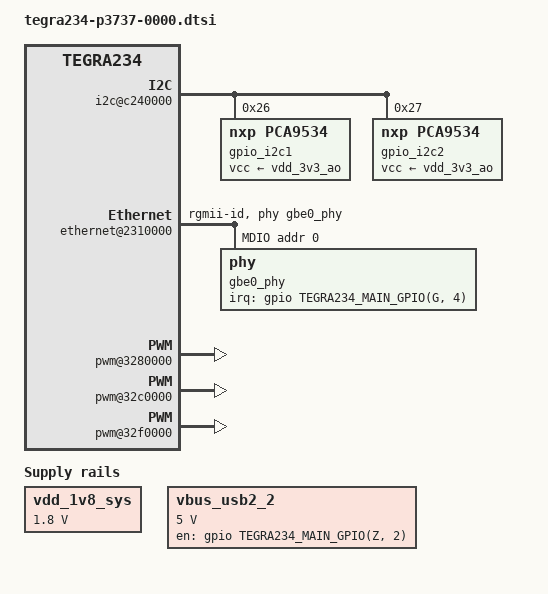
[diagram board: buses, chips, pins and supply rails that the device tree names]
// SPDX-License-Identifier: GPL-2.0

/ {
	compatible = "nvidia,p3737-0000";

	bus@0 {
		i2c@c240000 {
			status = "okay";
			gpio_i2c1: gpio@26 {
				compatible = "nxp,pca9534";
				reg = <0x26>;
				vcc-supply = <&vdd_3v3_ao>;
				gpio-controller;
				#gpio-cells = <2>;
				gpio-line-names = "485term_4", "485term_3", "485term_2", "485term_1", "can0_term", "can0_stdby", "can1_term", "can1_stdby";
			};
			gpio_i2c2: gpio@27 {
				compatible = "nxp,pca9534";
				reg = <0x27>;
				vcc-supply = <&vdd_3v3_ao>;
				gpio-controller;
				#gpio-cells = <2>;
				gpio-line-names = "hduplex_4", "485en_4", "hduplex_3", "485en_3", "hduplex_2", "485en_2", "hduplex_1", "485en_1";
			};
		};
		
		ethernet@2310000 {
					status = "okay";
					nvidia,mac-addr-idx = <0>;
					nvidia,max-platform-mtu = <8000>;
					nvidia,pause_frames = <0>;
					local-mac-adress = [1a 2b 3c 4d 5e 6f];
					//nvidia,phy-reset-gpio = <&gpio TEGRA234_MAIN_GPIO(G, 5) GPIO_ACTIVE_LOW>;
					phy-handle = <&gbe0_phy>;
					phy-mode = "rgmii-id";

					mdio {
						compatible = "nvidia,eqos-mdio";
						#address-cells = <1>;
						#size-cells = <0>;

						gbe0_phy: phy@0 {
							reg = <0>;
							nvidia,phy-rst-pdelay-msec = <224>; /* msec */
							nvidia,phy-rst-duration-usec = <10000>; /* usec */
							interrupt-parent = <&gpio>;
							interrupts = <TEGRA234_MAIN_GPIO(G, 4) IRQ_TYPE_LEVEL_LOW>;
						};
					};
		};

		pwm@3280000 {
			status = "okay";
		};

		pwm@32c0000 {
			status = "okay";
		};

		pwm@32f0000 {
			status = "okay";
		};
	};

	vdd_1v8_sys: regulator-vdd-1v8-sys {
		compatible = "regulator-fixed";
		regulator-name = "VDD_1V8_SYS";
		regulator-min-microvolt = <1800000>;
		regulator-max-microvolt = <1800000>;
		regulator-always-on;
	};
	
	vbus_usb2_2: regulator_vbus_usb2_2 {
			compatible = "regulator-fixed";
			regulator-name = "vbus_usb2_2";
			regulator-min-microvolt = <5000000>;
			regulator-max-microvolt = <5000000>;
			gpio = <&gpio TEGRA234_MAIN_GPIO(Z, 2) GPIO_ACTIVE_HIGH>;
			gpio-open-drain;
			enable-active-high;
	};
};
